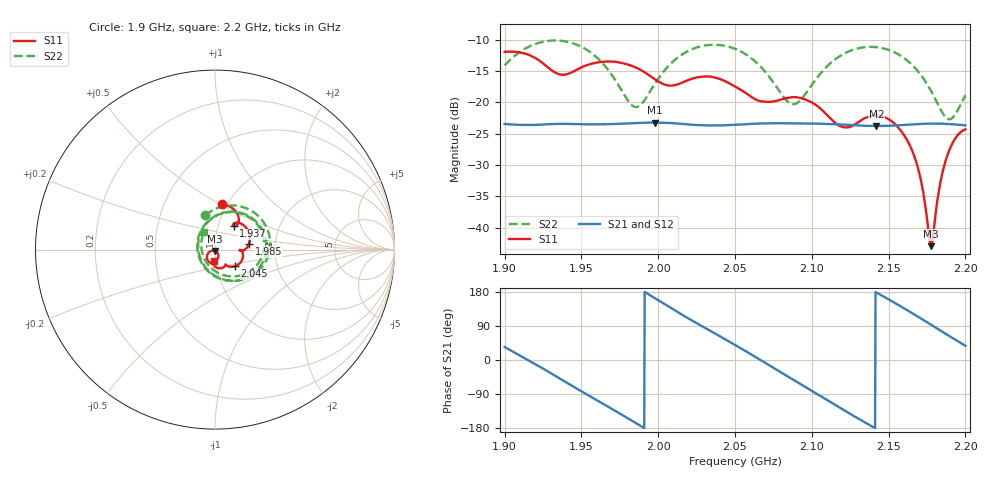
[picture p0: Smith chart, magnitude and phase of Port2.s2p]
# Hz S RI R 50
! CMT, CMT808U, 21440046, 21.4.3/4
! Date: 3/28/2026 4:55:48 PM
! Data: Format (Calibration Info)
! Freq	S11:Re/Im(F2)	S41:Re/Im(F2)	S14:Re/Im(F2)	S44:Re/Im(F2)
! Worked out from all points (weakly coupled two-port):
!   1001 points, 1.9 GHz to 2.2 GHz, reference 50 ohm
!   highest |S21| = -23.20 dB at 1.998 GHz (marker M1); lowest = -23.8 dB at 2.142 GHz (marker M2)
!   lowest |S11| = -43.0 dB at 2.178 GHz (marker M3), VSWR 1.01, Z = 49.9 - j0.695 ohm
!   |S11| at or under -10 dB: start of sweep to end of sweep
!   |S22| runs from -22.7 to -10.1 dB; largest |S21 - S12| = 0.00043
!   S11 on the Smith chart (normalised r, x): 1.9 GHz: 0.94, +0.51; 1.937 GHz: 1.18, +0.32; 1.985 GHz: 1.46, +0.09; 2.045 GHz: 1.23, -0.23; 2.2 GHz: 0.98, -0.12
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1.9e9  0.0373 0.2514  0.0557 0.038  0.0553 0.0382  -0.0535 0.1906
1.9171e9  0.1229 0.2021  0.0659 -0.00527  0.0659 -0.00493  0.1574 0.2363
1.9372e9  0.1034 0.1306  0.0416 -0.0531  0.0418 -0.0528  0.307 0.049
1.9501e9  0.1178 0.1504  0.00836 -0.0665  0.00868 -0.0664  0.2596 -0.1006
1.9669e9  0.178 0.1163  -0.0357 -0.0568  -0.0354 -0.0569  0.0709 -0.1717
1.9849e9  0.1891 0.0313  -0.0661 -0.0178  -0.0658 -0.018  -0.0881 -0.0268
1.9978e9  0.1534 -0.00567  -0.0662 0.02  -0.0662 0.0196  -0.0615 0.1268
2.0002e9  0.1468 -0.00677  -0.0637 0.0268  -0.0638 0.0264  -0.0434 0.1498
2.0197e9  0.1509 -0.0112  -0.0223 0.0629  -0.0226 0.0627  0.1689 0.1962
2.0452e9  0.1112 -0.0926  0.0414 0.0512  0.0411 0.0514  0.277 -0.0442
2.05e9  0.0944 -0.0955  0.0509 0.0425  0.0507 0.0427  0.252 -0.0928
2.068e9  0.0602 -0.0821  0.0679 -0.00407  0.0678 -0.00375  0.0693 -0.1725
2.0863e9  0.0472 -0.0994  0.0453 -0.0508  0.0455 -0.0506  -0.0899 -0.0393
2.1001e9  0.00791 -0.0996  0.00966 -0.0671  0.00996 -0.067  -0.0707 0.1195
2.1208e9  -0.00323 -0.0634  -0.0446 -0.0494  -0.0443 -0.0496  0.1343 0.2048
2.1421e9  -0.0218 -0.0757  -0.0649 0.00212  -0.0648 0.00178  0.2739 0.0397
2.1502e9  -0.0396 -0.0617  -0.0611 0.0228  -0.0611 0.0224  0.2588 -0.0448
2.167e9  -0.0333 -0.0147  -0.0331 0.0582  -0.0333 0.0579  0.119 -0.1484
2.1715e9  -0.0212 -0.00745  -0.0214 0.0639  -0.0217 0.0637  0.0696 -0.1473
2.1778e9  -0.00142 -0.00697  -0.00322 0.0677  -0.00359 0.0676  0.00462 -0.1225
2.1874e9  0.0189 -0.0296  0.0248 0.0628  0.0244 0.0628  -0.0634 -0.0414
2.2e9  -0.00518 -0.0608  0.0521 0.04  0.0518 0.0402  -0.0617 0.0962
